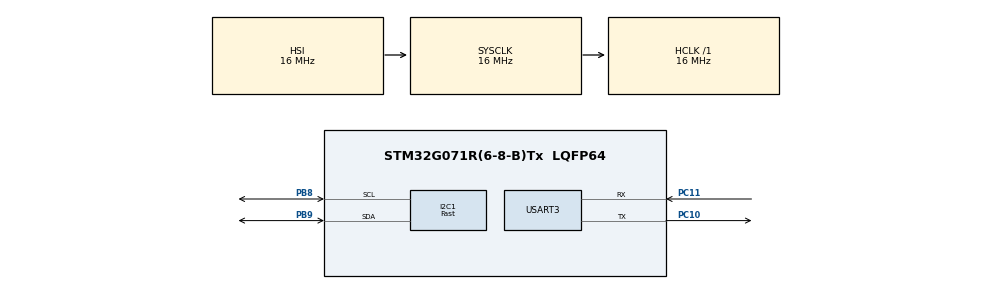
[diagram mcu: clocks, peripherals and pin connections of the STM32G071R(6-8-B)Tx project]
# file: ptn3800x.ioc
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I2C1.I2C_Speed_Mode=I2C_Fast
I2C1.Timing=0x0010061A
Mcu.Family=STM32G0
Mcu.Name=STM32G071R(6-8-B)Tx
Mcu.Package=LQFP64
PB8.Mode=I2C
PB8.Signal=I2C1_SCL
PB9.Mode=I2C
PB9.Signal=I2C1_SDA
PC10.Mode=Asynchronous
PC10.Signal=USART3_TX
PC11.Mode=Asynchronous
PC11.Signal=USART3_RX
ProjectManager.HeapSize=0x200
ProjectManager.StackSize=0x400
ProjectManager.TargetToolchain=STM32CubeIDE
RCC.AHBFreq_Value=16000000
RCC.CortexFreq_Value=16000000
RCC.EXTERNAL_CLOCK_VALUE=48000
RCC.HCLKFreq_Value=16000000
RCC.HSE_VALUE=8000000
RCC.HSI_VALUE=16000000
RCC.LSE_VALUE=32768
RCC.SYSCLKFreq_VALUE=16000000
RCC.VCOOutputFreq_Value=128000000
USART3.VirtualMode-Asynchronous=VM_ASYNC
board=custom

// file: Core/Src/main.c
/* USER CODE BEGIN Header */
/**
  ******************************************************************************
  * @file           : main.c
  * @brief          : Main program body
  ******************************************************************************
  * @attention
  *
  * Copyright (c) 2023 STMicroelectronics.
  * All rights reserved.
  *
  * This software is licensed under terms that can be found in the LICENSE file
  * in the root directory of this software component.
  * If no LICENSE file comes with this software, it is provided AS-IS.
  *
  ******************************************************************************
  */
/* USER CODE END Header */
#include "main.h"
#include "i2c.h"
#include "usart.h"
#include "gpio.h"

/* USER CODE BEGIN Includes */
#include "ptn3800x.h"
#define MUX
/* USER CODE END Includes */

/* USER CODE BEGIN PD */
ptn3800x_HandlerTypedef ptn38007;

/* USER CODE END PD */

void SystemClock_Config(void);

int __io_putchar(int ch)
{
  HAL_UART_Transmit(&huart3, (uint8_t *)&ch, 1, 10);
  return ch;
}

int main(void)
{

  /* MCU Configuration--------------------------------------------------------*/

  /* Reset of all peripherals, Initializes the Flash interface and the Systick. */
  HAL_Init();

  /* Configure the system clock */
  SystemClock_Config();

  /* Initialize all configured peripherals */
  MX_GPIO_Init();
  MX_I2C1_Init();
  MX_USART3_UART_Init();
//  setvbuf(stdout, NULL, _IONBF, 0);

  /* USER CODE BEGIN 2 */

  uint8_t data;

  HAL_Delay(1000);

  printf("Inicializando Placa \r\n");
  if(!ptn3800x_init(&ptn38007, &hi2c1))
	  printf("Erro Na inicizalizacao do PTN \r\n\n");
  printf("Fim de Inicializacao \r\n\n");

  HAL_Delay(1);

  printf("Config Orientacao\r\n");
  ptn3800x_dev_ctrl_reset(&ptn38007);

  ptn3800x_orientation_config(&ptn38007, REVERSE);
  printf("Orientation %d\r\n", ptn38007.orient_handler.plug_orientation_ctrl);

  ptn3800x_read_data(&ptn38007, MODE_CTRL, &data);
  printf("REG[0x%02x] >> [0x%02x]\r\n", MODE_CTRL, data);

  HAL_Delay(1);

  ptn3800x_operation_mode(&ptn38007, MD_SAFE_STATE);
  ptn3800x_read_data(&ptn38007, MODE_CTRL, &data);
  printf("REG[0x%02x] >> [0x%02x]\r\n", MODE_CTRL, data);

  ptn3800x_orientation_config(&ptn38007, NORMAL);
  ptn3800x_read_data(&ptn38007, MODE_CTRL, &data);
  printf("REG[0x%02x] >> [0x%02x]\r\n", MODE_CTRL, data);

  ptn3800x_AUX_pin_polarity(&ptn38007,NORMAL);
  ptn3800x_read_data(&ptn38007, MODE_CTRL, &data);
  printf("AUX PIn POlarity is %d\r\n", ptn38007.orient_handler.aux_snooping_polarity_bit);
  printf("REG[0x%02x] >> [0x%02x]\r\n", MODE_CTRL, data);

  ptn3800x_AUX_pin_polarity(&ptn38007,REVERSE);
  ptn3800x_read_data(&ptn38007, MODE_CTRL, &data);
  printf("AUX PIn POlarity is %d\r\n", ptn38007.orient_handler.aux_snooping_polarity_bit);
  printf("REG[0x%02x] >> [0x%02x]\r\n", MODE_CTRL, data);

  ptn3800x_AUX_pin_polarity(&ptn38007,NORMAL);

  ptn3800x_operation_mode(&ptn38007, MD_SINGLE_USB3);
  ptn3800x_read_data(&ptn38007, MODE_CTRL, &data);
//  printf("AUX PIn POlarity is %d\r\n", ptn38007.orient_handler.aux_snooping_polarity_bit);
  printf("REG[0x%02x] >> [0x%02x]\r\n", MODE_CTRL, data);

  dev_ctrl_t dev_ctrl_values = {
		  .LT_bypass_control = 1,
		  .programeble_values_disconect_tbt_usb4 = TIME_1ms,
		  .aux_sb_snooping_mux = 1
  };

  ptn3800x_dev_ctrl_set(&ptn38007, &dev_ctrl_values);
  ptn3800x_read_data(&ptn38007, DEV_CTRL, &data);
  printf("REG[0x%02x] >> [0x%02x]\r\n", MODE_CTRL, data);

  uint8_t buffer;
  buffer = 0x00;
  ptn3800x_write_data(&ptn38007, DEV_CTRL, &buffer);

  ptn3800x_dev_ctrl_get(&ptn38007, &dev_ctrl_values);
  printf("bit[5] %d | bit[4:2] %d | bit[1] %d\r\n", dev_ctrl_values.LT_bypass_control,
		  	  	  	  	  	  	  	  	  	  dev_ctrl_values.programeble_values_disconect_tbt_usb4,
											  dev_ctrl_values.aux_sb_snooping_mux);

  /* USER CODE END 2 */

  /* Infinite loop */
  while (1)
  {

	  HAL_Delay(1000);
  }
}

void SystemClock_Config(void)
{
  RCC_OscInitTypeDef RCC_OscInitStruct = {0};
  RCC_ClkInitTypeDef RCC_ClkInitStruct = {0};

  /** Configure the main internal regulator output voltage
  */
  HAL_PWREx_ControlVoltageScaling(PWR_REGULATOR_VOLTAGE_SCALE1);

  /** Initializes the RCC Oscillators according to the specified parameters
  * in the RCC_OscInitTypeDef structure.
  */
  RCC_OscInitStruct.OscillatorType = RCC_OSCILLATORTYPE_HSI;
  RCC_OscInitStruct.HSIState = RCC_HSI_ON;
  RCC_OscInitStruct.HSIDiv = RCC_HSI_DIV1;
  RCC_OscInitStruct.HSICalibrationValue = RCC_HSICALIBRATION_DEFAULT;
  RCC_OscInitStruct.PLL.PLLState = RCC_PLL_NONE;
  if (HAL_RCC_OscConfig(&RCC_OscInitStruct) != HAL_OK)
  {
    Error_Handler();
  }

  /** Initializes the CPU, AHB and APB buses clocks
  */
  RCC_ClkInitStruct.ClockType = RCC_CLOCKTYPE_HCLK|RCC_CLOCKTYPE_SYSCLK
                              |RCC_CLOCKTYPE_PCLK1;
  RCC_ClkInitStruct.SYSCLKSource = RCC_SYSCLKSOURCE_HSI;
  RCC_ClkInitStruct.AHBCLKDivider = RCC_SYSCLK_DIV1;
  RCC_ClkInitStruct.APB1CLKDivider = RCC_HCLK_DIV1;

  if (HAL_RCC_ClockConfig(&RCC_ClkInitStruct, FLASH_LATENCY_0) != HAL_OK)
  {
    Error_Handler();
  }
}

void Error_Handler(void)
{
  __disable_irq();
  while (1)
  {
  }
}
